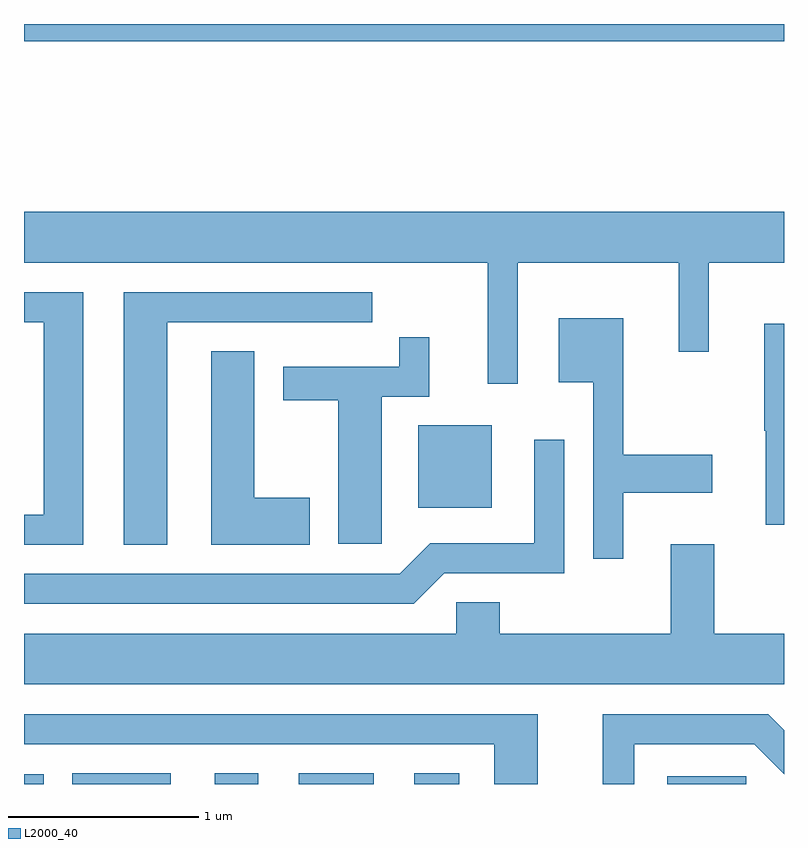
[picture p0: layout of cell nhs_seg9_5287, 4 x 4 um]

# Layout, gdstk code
import gdstk
lib = gdstk.Library(unit=1e-6, precision=1e-09)
def R(c, l, rs):  # rectangles x0, y0, x1, y1
    for r in rs: c.add(gdstk.rectangle(r[:2], r[2:], *l))
def P(c, l, *ps):  # polygons
    for p in ps: c.add(gdstk.Polygon(p, *l))
L2000_40 = (2000, 40)

nhs_seg9_5287 = lib.new_cell('nhs_seg9_5287')
R(nhs_seg9_5287, L2000_40, [(341.611,1962.432,341.714,1962.484), (341.866,1962.432,342.384,1962.489), (342.616,1962.432,342.844,1962.489), (343.056,1962.432,343.453,1962.489), (343.666,1962.432,343.903,1962.489), (344.996,1962.432,345.413,1962.474), (343.686,1963.886,344.074,1964.319), (341.611,1966.341,345.611,1966.432)])
P(nhs_seg9_5287, L2000_40, [(344.209,1965.176),(345.056,1965.176),(345.056,1964.708),(345.214,1964.708),(345.214,1965.176),(345.611,1965.176),(345.611,1965.444),(341.611,1965.444),(341.611,1965.176),(344.051,1965.176),(344.051,1964.538),(344.209,1964.538)],
  [(342.364,1964.861),(343.443,1964.861),(343.443,1965.019),(342.136,1965.019),(342.136,1963.691),(342.364,1963.691)],
  [(341.924,1965.019),(341.611,1965.019),(341.611,1964.861),(341.716,1964.861),(341.716,1963.849),(341.611,1963.849),(341.611,1963.691),(341.924,1963.691)],
  [(344.764,1963.966),(345.234,1963.966),(345.234,1964.164),(344.764,1964.164),(344.764,1964.884),(344.426,1964.884),(344.426,1964.546),(344.606,1964.546),(344.606,1963.618),(344.764,1963.618)],
  [(345.611,1964.854),(345.506,1964.854),(345.506,1964.29),(345.516,1964.29),(345.516,1963.796),(345.611,1963.796)],
  [(343.494,1964.471),(343.744,1964.471),(343.744,1964.783),(343.586,1964.783),(343.586,1964.629),(342.976,1964.629),(342.976,1964.451),(343.266,1964.451),(343.266,1963.696),(343.494,1963.696)],
  [(343.114,1963.939),(342.824,1963.939),(342.824,1964.709),(342.596,1964.709),(342.596,1963.691),(343.114,1963.691)],
  [(343.822,1963.541),(344.454,1963.541),(344.454,1964.243),(344.296,1964.243),(344.296,1963.699),(343.749,1963.699),(343.589,1963.539),(341.611,1963.539),(341.611,1963.381),(343.662,1963.381)],
  [(345.611,1963.224),(345.244,1963.224),(345.244,1963.694),(345.016,1963.694),(345.016,1963.224),(344.114,1963.224),(344.114,1963.389),(343.886,1963.389),(343.886,1963.224),(341.611,1963.224),(341.611,1962.956),(345.611,1962.956)],
  [(344.824,1962.641),(345.454,1962.641),(345.611,1962.484),(345.611,1962.715),(345.527,1962.799),(344.656,1962.799),(344.656,1962.432),(344.824,1962.432)],
  [(344.314,1962.799),(341.611,1962.799),(341.611,1962.641),(344.086,1962.641),(344.086,1962.432),(344.314,1962.432)])

lib.write_gds('nhs_seg9_5287.gds')
